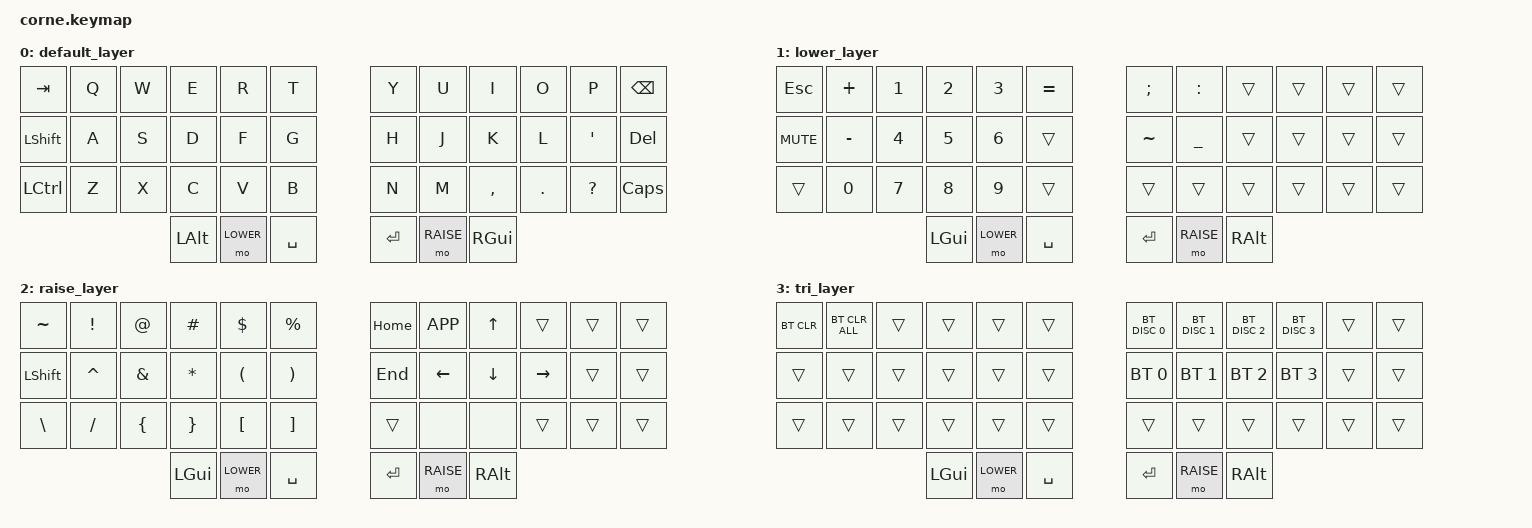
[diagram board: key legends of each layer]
/*
 * Copyright (c) 2020 The ZMK Contributors
 *
 * SPDX-License-Identifier: MIT
 */

#include <behaviors.dtsi>
#include <dt-bindings/zmk/keys.h>
#include <dt-bindings/zmk/bt.h>
#include <dt-bindings/zmk/ext_power.h>
#include <dt-bindings/zmk/rgb.h>
#include <dt-bindings/zmk/mouse.h>

//Renaming Layers to Right, Left and Tri
#define DEFAULT 0
#define LOWER 1
#define RAISE 2
#define TRI 3

/ {
    conditional_layers {
        compatible = "zmk,conditional-layers";
        tri_layer {
            if-layers = <LOWER RAISE>;
            then-layer = <TRI>;
        };
    };


        keymap {
                compatible = "zmk,keymap";

                default_layer {
// -----------------------------------------------------------------------------------------
// | TAB  |  Q  |  W  |  E  |  R  |  T  |   |  Y  |  U   |  I  |  O  |  P  | BKSP |
// | SHFT |  A  |  S  |  D  |  F  |  G  |   |  H  |  J   |  K  |  L  |  '  | DEL |
// | CTRL |  Z  |  X  |  C  |  V  |  B  |   |  N  |  M   |  ,  |  .  |  ?  | CAPS|
//                    | ALT | LWR | SPC |   | ENT | RSE  | GUI |
                        bindings = <
   &kp TAB   &kp Q &kp W &kp E &kp R &kp T   &kp Y &kp U  &kp I     &kp O     &kp P     &kp BSPC
   &kp LSHFT &kp A &kp S &kp D &kp F &kp G   &kp H &kp J  &kp K     &kp L     &kp SQT   &kp DEL
   &kp LCTRL &kp Z &kp X &kp C &kp V &kp B   &kp N &kp M  &kp COMMA &kp DOT   &kp QMARK &kp CAPS
                  &kp LALT &mo LOWER &kp SPACE   &kp RET &mo RAISE &kp RGUI
                        >;
                };
                lower_layer {
// -----------------------------------------------------------------------------------------
// | ESC  |  +  |  1  |  2  |  3  |  =  |                | ;  | :  |     |     |       |          |  
// | MUTE |  -  |  4  |  5  |  6  |     |                | ~  |  _ |     |     |       |          |
// |      |  0  |  7  |  8  |  9  |     |                |    |    |     |     |       |          |
//                    | GUI | LWR | SPC |                | ENT| RSE| ALT |
                        bindings = <
   &kp ESC    &kp PLUS  &kp N1 &kp N2 &kp N3  &kp EQUAL       &kp SEMI  &kp COLON &trans &trans &trans &trans
   &kp C_MUTE &kp MINUS &kp N4 &kp N5 &kp N6  &trans          &kp TILDE &kp UNDER &trans &trans &trans &trans
   &trans     &kp N0    &kp N7 &kp N8 &kp N9  &trans          &trans    &trans    &trans &trans &trans &trans
                          &kp LGUI &mo LOWER &kp SPACE    &kp RET  &mo RAISE   &kp RALT
                        >;
                };

                raise_layer {
// -----------------------------------------------------------------------------------------
// |  ~   |  !  |  @  |  #  |  $  |  %  |                         |Home | Ctxt|Up   |     |     |     |
// | SHFT |  ^  |  &  |  *  |  () | ()  |                         |End  | Left|Down |Right|     |     |
// |   \  |  /  |  {  |  }  | []  |  [] |                         |     |     |     |     |     |     |
//                    | GUI | LWR | SPC |                         | ENT | RSE | ALT |
                        bindings = <
   &kp TILDE &kp EXCL  &kp AT    &kp HASH  &kp DLLR &kp PRCNT     &kp HOME  &kp K_APP         &kp UP         &trans          &trans &trans
   &kp LSHFT &kp CARET &kp AMPS  &kp STAR  &kp LPAR &kp RPAR      &kp END   &kp LEFT_ARROW &kp DOWN_ARROW &kp RIGHT_ARROW &trans &trans
   &kp BSLH  &kp FSLH  &kp LBRC  &kp RBRC  &kp LBKT &kp RBKT      &trans    &none             &none          &trans           &trans &trans
                             &kp LGUI &mo LOWER &kp SPACE         &kp RET   &mo RAISE      &kp RALT
                        >;
                };

                tri_layer {
// -----------------------------------------------------------------------------------------
// |BTCLR |BTCAL |      |     |     |     |           |DiscDP|DiscPh|DiscSP| Disc?| Disc?|     |  
// |      |      |      |     |     |     |           |Desktp|Phone |SurfPR|  ?   |   ?  |     |
// |      |      |      |     |     |     |           |     |       |      |      |      |     |
//                    | GUI | ALT  | SPC |           | ENT  | RSE | ALT |
                        bindings = <
   &bt BT_CLR &bt BT_CLR_ALL  &trans &trans &trans &trans       &bt BT_DISC 0 &bt BT_DISC 1 &bt BT_DISC 2 &bt BT_DISC 3 &trans  &trans
   &trans     &trans          &trans &trans &trans &trans       &bt BT_SEL 0  &bt BT_SEL 1  &bt BT_SEL 2  &bt BT_SEL 3  &trans  &trans
   &trans     &trans          &trans &trans &trans &trans       &trans        &trans        &trans        &trans        &trans  &trans
                &kp LGUI &mo LOWER &kp SPACE                    &kp RET  &mo RAISE  &kp RALT
                        >;
                };
        };
};
